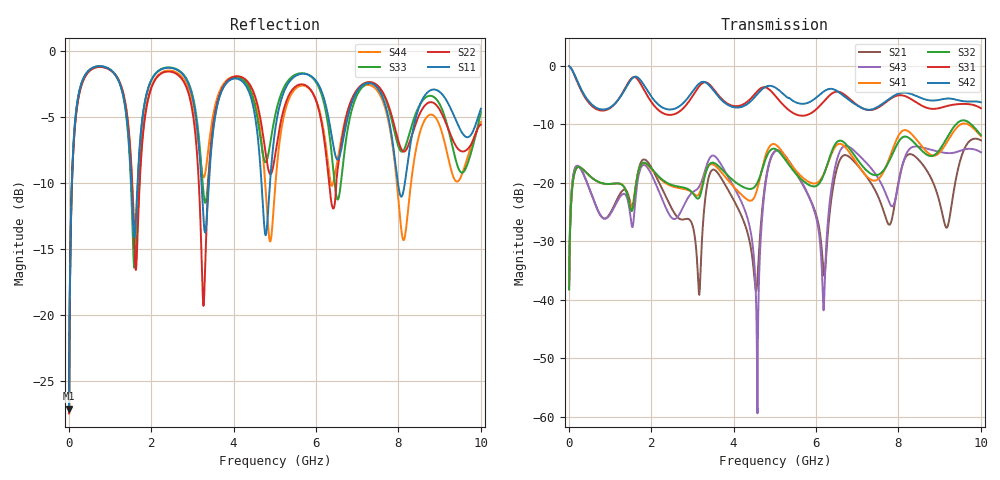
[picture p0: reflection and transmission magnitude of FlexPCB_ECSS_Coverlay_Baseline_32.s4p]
! TOUCHSTONE file generated by CST MICROWAVE STUDIO
! Date and time: Sun Jul  5 19:09:52 2026
! Project name: FlexPCB_ECSS_Coverlay_Baseline.cst
! Parameters = {Gap=1.2; GroundW=9.2; Hadh=0.025; Hcov=0.025; Hsub=0.1; L=50; Tcu=0.035; W=0.2}
! Header version: 2024
! Port assignment regex: !\s*Touchstone port\s*([0-9]+)\s*=\s*(CST MWS port|CST DES external port|CST DES block port)\s*(.+)\s* \(\"(.*)\"\)(\s*mode\s*([0-9]+))?.*
! Touchstone port assignment:
! Touchstone port 1 = CST MWS port 1 ("")
! Touchstone port 2 = CST MWS port 2 ("")
! Touchstone port 3 = CST MWS port 3 ("")
! Touchstone port 4 = CST MWS port 4 ("")
# GHz S MA R 50
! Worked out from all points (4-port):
!   1002 points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, 10 MHz to 10 GHz, reference 50 ohm
!   strongest paths, dB at 10 MHz, 2.51 GHz, 5.01 GHz, 7.503 GHz, 10 GHz:
!     S42: 0.0, -7.4, -3.7, -7.0, -6.2
!     S31: 0.0, -8.3, -5.1, -7.1, -7.2
!     S32: -38.2, -20.4, -14.2, -18.6, -11.8
!     S41: -38.2, -20.6, -13.4, -19.4, -12.0
!     S43: -37.4, -26.0, -14.6, -19.1, -14.8
!     S21: -37.4, -24.5, -14.6, -22.3, -12.7
!   lowest |S11| = -27.1 dB at 10 MHz (marker M1), VSWR 1.09, Z = 49.7 - j4.41 ohm
!   |S11| at or under -10 dB: 3.221 GHz to 3.4 GHz (178.3 MHz wide, 5.39 % of centre); 4.678 GHz to 4.884 GHz (206 MHz wide, 4.31 % of centre); 7.988 GHz to 8.155 GHz (166.3 MHz wide, 2.06 % of centre)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
0.01  0.04436 -91.9  0.0135 84.5  0.9977 -2.9  0.01227 84.7
      0.0135 84.5  0.04257 -91.8  0.01227 84.7  0.9978 -2.8
      0.9977 -2.9  0.01227 84.7  0.04435 -91.9  0.0135 84.5
      0.01227 84.7  0.9978 -2.8  0.0135 84.5  0.04257 -91.8
1.61  0.2054 -170.0  0.08217 28.6  0.8027 175.2  0.08704 -135.9
      0.08217 28.6  0.1588 157.8  0.08428 -133.4  0.8123 -179.4
      0.8027 175.2  0.08428 -133.4  0.1619 -163.9  0.06608 40.5
      0.08704 -135.9  0.8123 -179.4  0.06608 40.5  0.1891 163.5
3.24  0.2807 141.0  0.03585 63.0  0.7133 7.0  0.09725 47.3
      0.03585 63.0  0.1364 142.9  0.09145 49.4  0.7322 0.3
      0.7133 7.0  0.09145 49.4  0.3309 149.9  0.1067 14.2
      0.09725 47.3  0.7322 0.3  0.1067 14.2  0.343 163.2
4.57  0.4994 141.9  0.01353 44.2  0.6049 -143.7  0.08743 -77.6
      0.01353 44.2  0.6354 154.0  0.09908 -94.7  0.5716 -138.6
      0.6049 -143.7  0.09908 -94.7  0.5661 155.4  0.002307 -87.3
      0.08743 -77.6  0.5716 -138.6  0.002307 -87.3  0.5967 139.2
4.85  0.2642 -154.1  0.1421 43.6  0.6371 168.3  0.1989 -118.2
      0.1421 43.6  0.3528 164.7  0.1818 -128.5  0.6766 179.7
      0.6371 168.3  0.1818 -128.5  0.4122 -171.5  0.1383 42.4
      0.1989 -118.2  0.6766 179.7  0.1383 42.4  0.2065 152.1
6.18  0.6722 156.1  0.01788 -155.7  0.494 43.8  0.1175 96.7
      0.01788 -155.7  0.4847 145.6  0.1155 99.6  0.603 32.3
      0.494 43.8  0.1155 99.6  0.648 146.8  0.008114 -173.3
      0.1175 96.7  0.603 32.3  0.008114 -173.3  0.506 149.8
10  0.6052 -174.1  0.2315 -47.3  0.4354 -54.9  0.2518 2.6
    0.2315 -47.3  0.5269 -176.5  0.2569 1.4  0.4901 -58.1
    0.4354 -54.9  0.2569 1.4  0.588 -163.3  0.1827 -28.9
    0.2518 2.6  0.4901 -58.1  0.1827 -28.9  0.5388 -158.6
